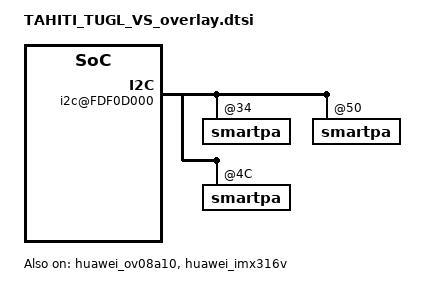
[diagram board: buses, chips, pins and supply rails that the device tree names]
/**
 * Copyright (C) 2014 Hisilicon Ltd.
 *
 *  This program is free software; you can redistribute it and/or modify
 *  it under the terms of the GNU General Public License version 2 as
 *  publishhed by the Free Software Foundation.
 */

/include/ "TAHITI_TUGL_VR_overlay.dtsi"

/ {
    board_id = <8536>;
};
    &rootparam{
		compatible = "hisilicon,vendor";
		hisi,boardid = <8 5 3 6>;
		hisi,boardname = "TAHITI_TUGL_VS";
		hisi,modem_id = <0x37032000>;
		hisi,product_id = <0x37032000>;
		hisi,product_name = "TAH-AL00";
	};
        &gpio_pl061_ctrl_v2_1 {
                onewire-gpio = <&gpio1 1 0>;
                status = "ok";
        };
        &gpio_pl061_ctrl_v2_2 {
                onewire-gpio = <&gpio29 3 0>;
                status = "ok";
        };

        &amba {
                i2c@FDF0D000 {
                        smartpa@34{
                                hw_reset {
                                        gpio_reset = <48>;
                                };
                        };

                        smartpa@50{
                                hw_reset {
                                        gpio_reset = <48>;
                                };
                        };

                        smartpa@4C{
                                hw_reset {
                                        gpio_reset = <48>;
                                };
                        };
                };
        };

	&sensorhub{
		light{
			als1{
				als_phone_version = <11>;
			};
		};

		gsensor{
			acc1{
				axis_map_x =<1>;
				axis_map_y =<0>;
				axis_map_z =<2>;
				negate_x =<1>;
				negate_y =<0>;
				negate_z =<0>;
			};
			acc2{
				axis_map_x =<1>;
				axis_map_y =<0>;
				axis_map_z =<2>;
				negate_x =<1>;
				negate_y =<0>;
				negate_z =<0>;
			};
		};

		gyroscope{
			gyro1{
				position = <3>;
				axis_map_x =<1>;
				axis_map_y =<0>;
				axis_map_z =<2>;
				negate_x =<1>;
				negate_y =<0>;
				negate_z =<0>;
			};
			gyro2{
				position = <3>;
				axis_map_x =<1>;
				axis_map_y =<0>;
				axis_map_z =<2>;
				negate_x =<1>;
				negate_y =<0>;
				negate_z =<0>;
			};
			gyro4{
				position = <3>;
			};
			gyro5{
				position = <3>;
			};
		};

		compass{
			mag1 {
				axis_map_x=<1>;
				axis_map_y=<0>;
				axis_map_z=<2>;
				negate_x=<1>;
				negate_y=<1>;
				negate_z=<1>;
			};
		};
	};
	&huawei_ov08a10 {
		dvdd-supply = <&ldo22>; /* ldo38 to ldo 22 */
		iovdd-supply = <&ldo21>;
		huawei,ldo-names = "dvdd","iovdd";
		status = "ok";
	};
	&huawei_imx316v{
		gpios = <&gpio28 5 0 &gpio29 2 0 &gpio1 2 0>; /*gpio <29 3> to <28 5> */
		huawei,gpio-ctrl-types = "dvdd1-en", "vcm_pwdn", "reset";
		status = "ok";
	};
